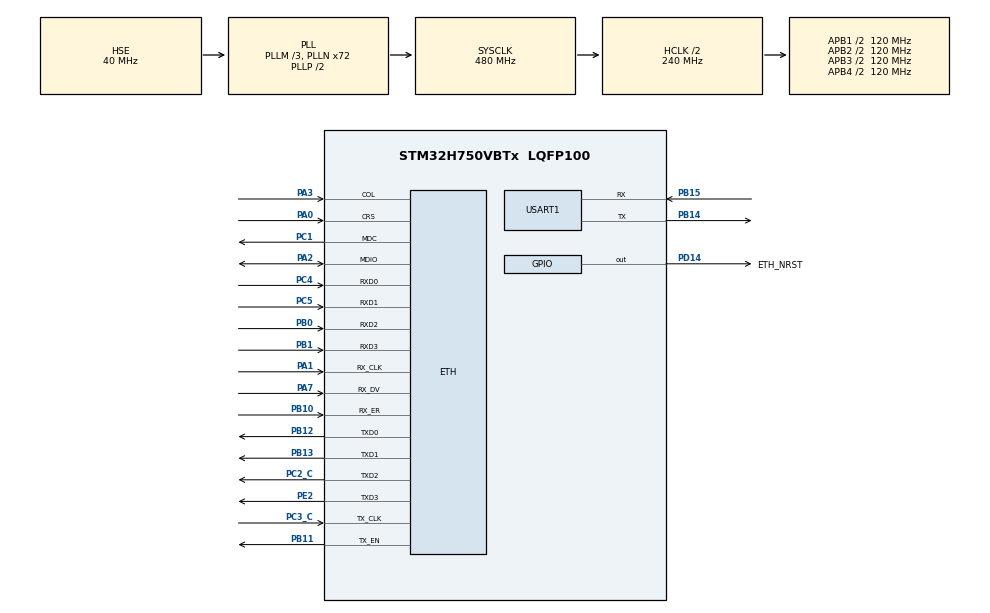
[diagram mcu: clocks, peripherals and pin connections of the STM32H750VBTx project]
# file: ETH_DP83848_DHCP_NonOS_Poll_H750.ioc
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CORTEX_M7.AccessPermission_S-Cortex_Memory_Protection_Unit_Region1_Settings_S=MPU_REGION_FULL_ACCESS
CORTEX_M7.AccessPermission_S-Cortex_Memory_Protection_Unit_Region2_Settings_S=MPU_REGION_FULL_ACCESS
CORTEX_M7.BaseAddress_S-Cortex_Memory_Protection_Unit_Region1_Settings_S=0x30020000
CORTEX_M7.BaseAddress_S-Cortex_Memory_Protection_Unit_Region2_Settings_S=0x30040000
CORTEX_M7.CPU_DCache=Enabled
CORTEX_M7.CPU_ICache=Enabled
CORTEX_M7.DisableExec_S-Cortex_Memory_Protection_Unit_Region1_Settings_S=MPU_INSTRUCTION_ACCESS_DISABLE
CORTEX_M7.DisableExec_S-Cortex_Memory_Protection_Unit_Region2_Settings_S=MPU_INSTRUCTION_ACCESS_DISABLE
CORTEX_M7.Enable_S-Cortex_Memory_Protection_Unit_Region1_Settings_S=MPU_REGION_ENABLE
CORTEX_M7.Enable_S-Cortex_Memory_Protection_Unit_Region2_Settings_S=MPU_REGION_ENABLE
CORTEX_M7.IsBufferable_S-Cortex_Memory_Protection_Unit_Region2_Settings_S=MPU_ACCESS_BUFFERABLE
CORTEX_M7.IsShareable_S-Cortex_Memory_Protection_Unit_Region2_Settings_S=MPU_ACCESS_SHAREABLE
CORTEX_M7.Size_S-Cortex_Memory_Protection_Unit_Region1_Settings_S=MPU_REGION_SIZE_128KB
CORTEX_M7.Size_S-Cortex_Memory_Protection_Unit_Region2_Settings_S=MPU_REGION_SIZE_512B
CORTEX_M7.TypeExtField_S-Cortex_Memory_Protection_Unit_Region1_Settings_S=MPU_TEX_LEVEL1
CORTEX_M7.default_mode_Activation=1
ETH.MediaInterface=HAL_ETH_MII_MODE
ETH.RxBuffLen=1536
ETH.RxDescAddress=0x30040000
ETH.TxDescAddress=0x30040200
LWIP.BSP.number=1
LWIP.LWIP_RAM_HEAP_POINTER=0x30020000
LWIP.MEM_SIZE=131048
LWIP.TCP_MSS=1460
LWIP.TCP_SND_BUF=5840
LWIP.TCP_SND_QUEUELEN=16
LWIP.TCP_WND=5840
LWIP.Version=v2.1.2_Cube
LWIP0.BSP.STBoard=false
LWIP0.BSP.api=BSP_COMPONENT_DRIVER
LWIP0.BSP.component=LAN8742
LWIP0.BSP.instance=LAN8742
LWIP0.BSP.name=Driver_PHY
LWIP0.BSP.semaphore=S_LAN8742
LWIP0.BSP.solution=LAN8742
Mcu.Family=STM32H7
Mcu.Name=STM32H750VBTx
Mcu.Package=LQFP100
NVIC.PriorityGroup=NVIC_PRIORITYGROUP_4
PA0.GPIO_Speed=GPIO_SPEED_FREQ_VERY_HIGH
PA0.Mode=MII
PA0.Signal=ETH_CRS
PA1.GPIO_Speed=GPIO_SPEED_FREQ_VERY_HIGH
PA1.Mode=MII
PA1.Signal=ETH_RX_CLK
PA13\ (JTMS/SWDIO).Mode=Serial_Wire
PA13\ (JTMS/SWDIO).Signal=DEBUG_JTMS-SWDIO
PA14\ (JTCK/SWCLK).Mode=Serial_Wire
PA14\ (JTCK/SWCLK).Signal=DEBUG_JTCK-SWCLK
PA2.GPIO_Speed=GPIO_SPEED_FREQ_VERY_HIGH
PA2.Mode=MII
PA2.Signal=ETH_MDIO
PA3.GPIO_Speed=GPIO_SPEED_FREQ_VERY_HIGH
PA3.Mode=MII
PA3.Signal=ETH_COL
PA7.GPIO_Speed=GPIO_SPEED_FREQ_VERY_HIGH
PA7.Mode=MII
PA7.Signal=ETH_RX_DV
PB0.GPIO_Speed=GPIO_SPEED_FREQ_VERY_HIGH
PB0.Mode=MII
PB0.Signal=ETH_RXD2
PB1.GPIO_Speed=GPIO_SPEED_FREQ_VERY_HIGH
PB1.Mode=MII
PB1.Signal=ETH_RXD3
PB10.GPIO_Speed=GPIO_SPEED_FREQ_VERY_HIGH
PB10.Mode=Activate Rx Err signal
PB10.Signal=ETH_RX_ER
PB11.GPIO_Speed=GPIO_SPEED_FREQ_VERY_HIGH
PB11.Mode=MII
PB11.Signal=ETH_TX_EN
PB12.GPIO_Speed=GPIO_SPEED_FREQ_VERY_HIGH
PB12.Mode=MII
PB12.Signal=ETH_TXD0
PB13.GPIO_Speed=GPIO_SPEED_FREQ_VERY_HIGH
PB13.Mode=MII
PB13.Signal=ETH_TXD1
PB14.Mode=Asynchronous
PB14.Signal=USART1_TX
PB15.Mode=Asynchronous
PB15.Signal=USART1_RX
PC1.GPIO_Speed=GPIO_SPEED_FREQ_VERY_HIGH
PC1.Mode=MII
PC1.Signal=ETH_MDC
PC2_C.GPIO_Speed=GPIO_SPEED_FREQ_VERY_HIGH
PC2_C.Mode=MII
PC2_C.Signal=ETH_TXD2
PC3_C.GPIO_Speed=GPIO_SPEED_FREQ_VERY_HIGH
PC3_C.Mode=MII
PC3_C.Signal=ETH_TX_CLK
PC4.GPIO_Speed=GPIO_SPEED_FREQ_VERY_HIGH
PC4.Mode=MII
PC4.Signal=ETH_RXD0
PC5.GPIO_Speed=GPIO_SPEED_FREQ_VERY_HIGH
PC5.Mode=MII
PC5.Signal=ETH_RXD1
PD14.GPIO_Label=ETH_NRST
PD14.Signal=GPIO_Output
PE2.GPIO_Speed=GPIO_SPEED_FREQ_VERY_HIGH
PE2.Mode=MII
PE2.Signal=ETH_TXD3
PH0-OSC_IN\ (PH0).Mode=HSE-External-Oscillator
PH0-OSC_IN\ (PH0).Signal=RCC_OSC_IN
PH1-OSC_OUT\ (PH1).Mode=HSE-External-Oscillator
PH1-OSC_OUT\ (PH1).Signal=RCC_OSC_OUT
ProjectManager.HeapSize=0x2000
ProjectManager.StackSize=0x4000
ProjectManager.TargetToolchain=STM32CubeIDE
RCC.ADCFreq_Value=80625000
RCC.APB1Freq_Value=120000000
RCC.APB2Freq_Value=120000000
RCC.APB3Freq_Value=120000000
RCC.APB4Freq_Value=120000000
RCC.CortexFreq_Value=480000000
RCC.D1PPRE=RCC_APB3_DIV2
RCC.D2PPRE1=RCC_APB1_DIV2
RCC.D2PPRE2=RCC_APB2_DIV2
RCC.D3PPRE=RCC_APB4_DIV2
RCC.DIVM1=3
RCC.DIVN1=72
RCC.HCLKFreq_Value=240000000
RCC.HPRE=RCC_HCLK_DIV2
RCC.HSE_VALUE=40000000
RCC.PLLFRACN=0
RCC.PLLSourceVirtual=RCC_PLLSOURCE_HSE
RCC.PWR_Regulator_Voltage_Scale=PWR_REGULATOR_VOLTAGE_SCALE0
RCC.SYSCLKFreq_VALUE=480000000
RCC.SYSCLKSource=RCC_SYSCLKSOURCE_PLLCLK
RCC.USBFreq_Value=480000000
USART1.VirtualMode-Asynchronous=VM_ASYNC
VP_LWIP_VS_Enabled.Mode=Enabled
board=custom

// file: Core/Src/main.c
/* USER CODE BEGIN Header */
/**
  ******************************************************************************
  * @file           : main.c
  * @brief          : Main program body
  ******************************************************************************
  * @attention
  *
  * Copyright (c) 2024 STMicroelectronics.
  * All rights reserved.
  *
  * This software is licensed under terms that can be found in the LICENSE file
  * in the root directory of this software component.
  * If no LICENSE file comes with this software, it is provided AS-IS.
  *
  ******************************************************************************
  */
/* USER CODE END Header */
#include "main.h"
#include "lwip.h"

UART_HandleTypeDef huart1;

void SystemClock_Config(void);
static void MPU_Config(void);
static void MX_GPIO_Init(void);
static void MX_USART1_UART_Init(void);

/* USER CODE BEGIN 0 */

/* With GCC, small printf (option LD Linker->Libraries->Small printf set to 'Yes') calls __io_putchar() */
#ifdef __GNUC__
#define PUTCHAR_PROTOTYPE int __io_putchar(int ch)
#else
#define PUTCHAR_PROTOTYPE int fputc(int ch, FILE *f)
#endif /* __GNUC__ */

PUTCHAR_PROTOTYPE
{
    HAL_UART_Transmit(&huart1, (uint8_t *)&ch, 1, 0xFFFF); // for printf()
    return ch;
}

/* USER CODE END 0 */

int main(void)
{

  /* MPU Configuration--------------------------------------------------------*/
  MPU_Config();
/* Enable the CPU Cache */

  /* Enable I-Cache---------------------------------------------------------*/
  SCB_EnableICache();

  /* Enable D-Cache---------------------------------------------------------*/
  SCB_EnableDCache();

  /* MCU Configuration--------------------------------------------------------*/

  /* Reset of all peripherals, Initializes the Flash interface and the Systick. */
  HAL_Init();

  /* Configure the system clock */
  SystemClock_Config();

  /* Initialize all configured peripherals */
  MX_GPIO_Init();
  MX_LWIP_Init();
  MX_USART1_UART_Init();

  /* Infinite loop */
  /* USER CODE BEGIN WHILE */
  while (1)
  {
	  MX_LWIP_Process();

	  static uint32_t previous = 0;
	  if((HAL_GetTick() - previous)>=1000)
	  {
		  previous = HAL_GetTick();
		  extern struct netif gnetif;
		  printf("%ld - loop: ip addr %s\n", HAL_GetTick(), ip4addr_ntoa(netif_ip_addr4(&gnetif)));
	  }

    /* USER CODE END WHILE */

  }
}

void SystemClock_Config(void)
{
  RCC_OscInitTypeDef RCC_OscInitStruct = {0};
  RCC_ClkInitTypeDef RCC_ClkInitStruct = {0};

  /** Supply configuration update enable
  */
  HAL_PWREx_ConfigSupply(PWR_LDO_SUPPLY);

  /** Configure the main internal regulator output voltage
  */
  __HAL_PWR_VOLTAGESCALING_CONFIG(PWR_REGULATOR_VOLTAGE_SCALE1);

  while(!__HAL_PWR_GET_FLAG(PWR_FLAG_VOSRDY)) {}

  __HAL_RCC_SYSCFG_CLK_ENABLE();
  __HAL_PWR_VOLTAGESCALING_CONFIG(PWR_REGULATOR_VOLTAGE_SCALE0);

  while(!__HAL_PWR_GET_FLAG(PWR_FLAG_VOSRDY)) {}

  /** Initializes the RCC Oscillators according to the specified parameters
  * in the RCC_OscInitTypeDef structure.
  */
  RCC_OscInitStruct.OscillatorType = RCC_OSCILLATORTYPE_HSE;
  RCC_OscInitStruct.HSEState = RCC_HSE_ON;
  RCC_OscInitStruct.PLL.PLLState = RCC_PLL_ON;
  RCC_OscInitStruct.PLL.PLLSource = RCC_PLLSOURCE_HSE;
  RCC_OscInitStruct.PLL.PLLM = 3;
  RCC_OscInitStruct.PLL.PLLN = 72;
  RCC_OscInitStruct.PLL.PLLP = 2;
  RCC_OscInitStruct.PLL.PLLQ = 2;
  RCC_OscInitStruct.PLL.PLLR = 2;
  RCC_OscInitStruct.PLL.PLLRGE = RCC_PLL1VCIRANGE_3;
  RCC_OscInitStruct.PLL.PLLVCOSEL = RCC_PLL1VCOWIDE;
  RCC_OscInitStruct.PLL.PLLFRACN = 0;
  if (HAL_RCC_OscConfig(&RCC_OscInitStruct) != HAL_OK)
  {
    Error_Handler();
  }

  /** Initializes the CPU, AHB and APB buses clocks
  */
  RCC_ClkInitStruct.ClockType = RCC_CLOCKTYPE_HCLK|RCC_CLOCKTYPE_SYSCLK
                              |RCC_CLOCKTYPE_PCLK1|RCC_CLOCKTYPE_PCLK2
                              |RCC_CLOCKTYPE_D3PCLK1|RCC_CLOCKTYPE_D1PCLK1;
  RCC_ClkInitStruct.SYSCLKSource = RCC_SYSCLKSOURCE_PLLCLK;
  RCC_ClkInitStruct.SYSCLKDivider = RCC_SYSCLK_DIV1;
  RCC_ClkInitStruct.AHBCLKDivider = RCC_HCLK_DIV2;
  RCC_ClkInitStruct.APB3CLKDivider = RCC_APB3_DIV2;
  RCC_ClkInitStruct.APB1CLKDivider = RCC_APB1_DIV2;
  RCC_ClkInitStruct.APB2CLKDivider = RCC_APB2_DIV2;
  RCC_ClkInitStruct.APB4CLKDivider = RCC_APB4_DIV2;

  if (HAL_RCC_ClockConfig(&RCC_ClkInitStruct, FLASH_LATENCY_4) != HAL_OK)
  {
    Error_Handler();
  }
}

static void MX_USART1_UART_Init(void)
{

  huart1.Instance = USART1;
  huart1.Init.BaudRate = 115200;
  huart1.Init.WordLength = UART_WORDLENGTH_8B;
  huart1.Init.StopBits = UART_STOPBITS_1;
  huart1.Init.Parity = UART_PARITY_NONE;
  huart1.Init.Mode = UART_MODE_TX_RX;
  huart1.Init.HwFlowCtl = UART_HWCONTROL_NONE;
  huart1.Init.OverSampling = UART_OVERSAMPLING_16;
  huart1.Init.OneBitSampling = UART_ONE_BIT_SAMPLE_DISABLE;
  huart1.Init.ClockPrescaler = UART_PRESCALER_DIV1;
  huart1.AdvancedInit.AdvFeatureInit = UART_ADVFEATURE_NO_INIT;
  if (HAL_UART_Init(&huart1) != HAL_OK)
  {
    Error_Handler();
  }
  if (HAL_UARTEx_SetTxFifoThreshold(&huart1, UART_TXFIFO_THRESHOLD_1_8) != HAL_OK)
  {
    Error_Handler();
  }
  if (HAL_UARTEx_SetRxFifoThreshold(&huart1, UART_RXFIFO_THRESHOLD_1_8) != HAL_OK)
  {
    Error_Handler();
  }
  if (HAL_UARTEx_DisableFifoMode(&huart1) != HAL_OK)
  {
    Error_Handler();
  }

}

static void MX_GPIO_Init(void)
{
  GPIO_InitTypeDef GPIO_InitStruct = {0};

  /* GPIO Ports Clock Enable */
  __HAL_RCC_GPIOE_CLK_ENABLE();
  __HAL_RCC_GPIOH_CLK_ENABLE();
  __HAL_RCC_GPIOC_CLK_ENABLE();
  __HAL_RCC_GPIOA_CLK_ENABLE();
  __HAL_RCC_GPIOB_CLK_ENABLE();
  __HAL_RCC_GPIOD_CLK_ENABLE();

  /*Configure GPIO pin Output Level */
  HAL_GPIO_WritePin(ETH_NRST_GPIO_Port, ETH_NRST_Pin, GPIO_PIN_RESET);

  /*Configure GPIO pin : ETH_NRST_Pin */
  GPIO_InitStruct.Pin = ETH_NRST_Pin;
  GPIO_InitStruct.Mode = GPIO_MODE_OUTPUT_PP;
  GPIO_InitStruct.Pull = GPIO_NOPULL;
  GPIO_InitStruct.Speed = GPIO_SPEED_FREQ_LOW;
  HAL_GPIO_Init(ETH_NRST_GPIO_Port, &GPIO_InitStruct);

/* USER CODE BEGIN MX_GPIO_Init_2 */

  HAL_GPIO_WritePin(ETH_NRST_GPIO_Port, ETH_NRST_Pin, GPIO_PIN_RESET);
  HAL_Delay(5);
  HAL_GPIO_WritePin(ETH_NRST_GPIO_Port, ETH_NRST_Pin, GPIO_PIN_SET);
  HAL_Delay(5);

/* USER CODE END MX_GPIO_Init_2 */
}

/* MPU Configuration */

void MPU_Config(void)
{
  MPU_Region_InitTypeDef MPU_InitStruct = {0};

  /* Disables the MPU */
  HAL_MPU_Disable();

  /** Initializes and configures the Region and the memory to be protected
  */
  MPU_InitStruct.Enable = MPU_REGION_ENABLE;
  MPU_InitStruct.Number = MPU_REGION_NUMBER0;
  MPU_InitStruct.BaseAddress = 0x0;
  MPU_InitStruct.Size = MPU_REGION_SIZE_4GB;
  MPU_InitStruct.SubRegionDisable = 0x87;
  MPU_InitStruct.TypeExtField = MPU_TEX_LEVEL0;
  MPU_InitStruct.AccessPermission = MPU_REGION_NO_ACCESS;
  MPU_InitStruct.DisableExec = MPU_INSTRUCTION_ACCESS_DISABLE;
  MPU_InitStruct.IsShareable = MPU_ACCESS_SHAREABLE;
  MPU_InitStruct.IsCacheable = MPU_ACCESS_NOT_CACHEABLE;
  MPU_InitStruct.IsBufferable = MPU_ACCESS_NOT_BUFFERABLE;

  HAL_MPU_ConfigRegion(&MPU_InitStruct);

  /** Initializes and configures the Region and the memory to be protected
  */
  MPU_InitStruct.Number = MPU_REGION_NUMBER1;
  MPU_InitStruct.BaseAddress = 0x30020000;
  MPU_InitStruct.Size = MPU_REGION_SIZE_128KB;
  MPU_InitStruct.SubRegionDisable = 0x0;
  MPU_InitStruct.TypeExtField = MPU_TEX_LEVEL1;
  MPU_InitStruct.AccessPermission = MPU_REGION_FULL_ACCESS;
  MPU_InitStruct.IsShareable = MPU_ACCESS_NOT_SHAREABLE;

  HAL_MPU_ConfigRegion(&MPU_InitStruct);

  /** Initializes and configures the Region and the memory to be protected
  */
  MPU_InitStruct.Number = MPU_REGION_NUMBER2;
  MPU_InitStruct.BaseAddress = 0x30040000;
  MPU_InitStruct.Size = MPU_REGION_SIZE_512B;
  MPU_InitStruct.TypeExtField = MPU_TEX_LEVEL0;
  MPU_InitStruct.IsShareable = MPU_ACCESS_SHAREABLE;
  MPU_InitStruct.IsBufferable = MPU_ACCESS_BUFFERABLE;

  HAL_MPU_ConfigRegion(&MPU_InitStruct);
  /* Enables the MPU */
  HAL_MPU_Enable(MPU_PRIVILEGED_DEFAULT);

}

void Error_Handler(void)
{
  __disable_irq();
  while (1)
  {
  }
}
